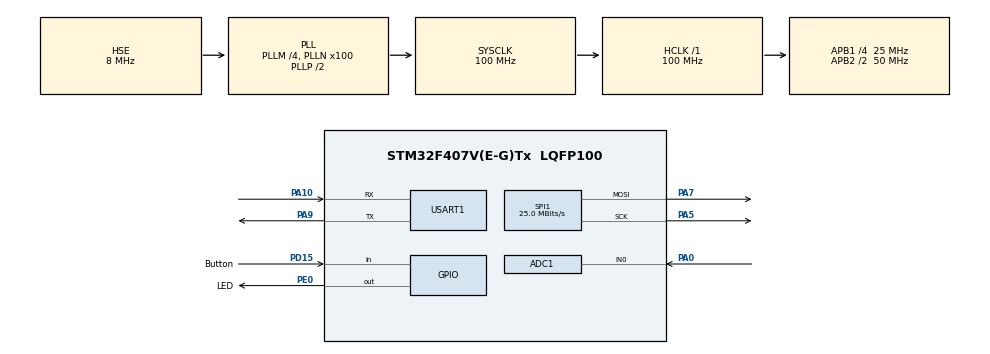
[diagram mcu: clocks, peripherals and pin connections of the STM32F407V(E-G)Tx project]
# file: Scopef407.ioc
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ADC1.Channel-0\#ChannelRegularConversion=ADC_CHANNEL_0
ADC1.DMAContinuousRequests=ENABLE
ADC1.ExternalTrigConv=ADC_EXTERNALTRIGCONV_T3_TRGO
ADC1.InjNumberOfConversion=0
ADC1.NbrOfConversionFlag=1
ADC1.Rank-0\#ChannelRegularConversion=1
ADC1.SamplingTime-0\#ChannelRegularConversion=ADC_SAMPLETIME_3CYCLES
ADC1.master=1
Dma.ADC1.0.Direction=DMA_PERIPH_TO_MEMORY
Dma.ADC1.0.FIFOMode=DMA_FIFOMODE_DISABLE
Dma.ADC1.0.Instance=DMA2_Stream0
Dma.ADC1.0.MemDataAlignment=DMA_MDATAALIGN_HALFWORD
Dma.ADC1.0.MemInc=DMA_MINC_ENABLE
Dma.ADC1.0.Mode=DMA_CIRCULAR
Dma.ADC1.0.PeriphDataAlignment=DMA_PDATAALIGN_HALFWORD
Dma.ADC1.0.PeriphInc=DMA_PINC_DISABLE
Dma.ADC1.0.Priority=DMA_PRIORITY_LOW
Dma.Request0=ADC1
Mcu.Family=STM32F4
Mcu.Name=STM32F407V(E-G)Tx
Mcu.Package=LQFP100
NVIC.DMA2_Stream0_IRQn=true\:0\:0\:false\:false\:true\:false\:true\:true
NVIC.PriorityGroup=NVIC_PRIORITYGROUP_4
PA0-WKUP.Signal=ADCx_IN0
PA10.Mode=Asynchronous
PA10.Signal=USART1_RX
PA13.Mode=Serial_Wire
PA13.Signal=SYS_JTMS-SWDIO
PA14.Mode=Serial_Wire
PA14.Signal=SYS_JTCK-SWCLK
PA5.Mode=TX_Only_Simplex_Unidirect_Master
PA5.Signal=SPI1_SCK
PA7.Mode=TX_Only_Simplex_Unidirect_Master
PA7.Signal=SPI1_MOSI
PA9.Mode=Asynchronous
PA9.Signal=USART1_TX
PD15.GPIO_Label=Button
PD15.Signal=GPIO_Input
PE0.GPIO_Label=LED
PE0.Signal=GPIO_Output
PH0-OSC_IN.Mode=HSE-External-Oscillator
PH0-OSC_IN.Signal=RCC_OSC_IN
PH1-OSC_OUT.Mode=HSE-External-Oscillator
PH1-OSC_OUT.Signal=RCC_OSC_OUT
ProjectManager.HeapSize=0x200
ProjectManager.StackSize=0x400
ProjectManager.TargetToolchain=CMake
RCC.48MHZClocksFreq_Value=50000000
RCC.AHBFreq_Value=100000000
RCC.APB1CLKDivider=RCC_HCLK_DIV4
RCC.APB1Freq_Value=25000000
RCC.APB1TimFreq_Value=50000000
RCC.APB2CLKDivider=RCC_HCLK_DIV2
RCC.APB2Freq_Value=50000000
RCC.APB2TimFreq_Value=100000000
RCC.CortexFreq_Value=100000000
RCC.HCLKFreq_Value=100000000
RCC.HSE_VALUE=8000000
RCC.HSI_VALUE=16000000
RCC.LSE_VALUE=32768
RCC.PLLM=4
RCC.PLLN=100
RCC.PLLSourceVirtual=RCC_PLLSOURCE_HSE
RCC.SYSCLKFreq_VALUE=100000000
RCC.SYSCLKSource=RCC_SYSCLKSOURCE_PLLCLK
RCC.VCOOutputFreq_Value=200000000
SH.ADCx_IN0.0=ADC1_IN0,IN0
SPI1.CalculateBaudRate=25.0 MBits/s
SPI1.Direction=SPI_DIRECTION_2LINES
SPI1.Mode=SPI_MODE_MASTER
SPI1.VirtualType=VM_MASTER
TIM3.TIM_MasterOutputTrigger=TIM_TRGO_UPDATE
USART1.VirtualMode=VM_ASYNC
VP_TIM3_VS_ClockSourceINT.Mode=Internal
board=custom

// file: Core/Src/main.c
/* USER CODE BEGIN Header */
/* USER CODE END Header */
#include "main.h"
#include "adc.h"
#include "dma.h"
#include "spi.h"
#include "tim.h"
#include "usart.h"
#include "gpio.h"

/* USER CODE BEGIN Includes */
#include "scope.h"
#include "sandbox.h"
/* USER CODE END Includes */

void SystemClock_Config(void);

int main(void)
{

  /* MCU Configuration--------------------------------------------------------*/

  /* Reset of all peripherals, Initializes the Flash interface and the Systick. */
  HAL_Init();

  /* Configure the system clock */
  SystemClock_Config();

  /* Initialize all configured peripherals */
  MX_GPIO_Init();
  MX_DMA_Init();
  MX_ADC1_Init();
  MX_SPI1_Init();
  MX_TIM3_Init();
  MX_USART1_UART_Init();
  /* USER CODE BEGIN 2 */
  // Configure ST7735 Display Control Pins (PA2, PA3, PA4) as Output
  GPIO_InitTypeDef GPIO_InitStruct = {0};
  GPIO_InitStruct.Pin = ST7735_RES_Pin | ST7735_DC_Pin | ST7735_CS_Pin;
  GPIO_InitStruct.Mode = GPIO_MODE_OUTPUT_PP;
  GPIO_InitStruct.Pull = GPIO_NOPULL;
  GPIO_InitStruct.Speed = GPIO_SPEED_FREQ_HIGH;
  HAL_GPIO_Init(GPIOA, &GPIO_InitStruct);

  // Set CS and RES high by default
  HAL_GPIO_WritePin(GPIOA, ST7735_CS_Pin | ST7735_RES_Pin, GPIO_PIN_SET);

  // Configure Buttons (PB7, PB8, PB9) as Input with Pull-Up
  __HAL_RCC_GPIOB_CLK_ENABLE();
  GPIO_InitStruct.Pin = BTN1_Pin | BTN2_Pin | BTN3_Pin;
  GPIO_InitStruct.Mode = GPIO_MODE_INPUT;
  GPIO_InitStruct.Pull = GPIO_PULLUP;
  HAL_GPIO_Init(GPIOB, &GPIO_InitStruct);

  // Initialize the oscilloscope (starts the screen, ADC, timers, etc)
  scopeInit();

  // Initialize our custom sandbox!
  // sandboxInit(); // <--- Sandbox is currently disabled!
  /* USER CODE END 2 */

  /* Infinite loop */
  /* USER CODE BEGIN WHILE */
  while (1)
  {
    // Run the main oscilloscope update loop continuously
    scopeLoop();

    // Run our custom animation loop!
    // sandboxLoop(); // <--- Sandbox is currently disabled!
    /* USER CODE END WHILE */

  }
}

void SystemClock_Config(void)
{
  RCC_OscInitTypeDef RCC_OscInitStruct = {0};
  RCC_ClkInitTypeDef RCC_ClkInitStruct = {0};

  /** Configure the main internal regulator output voltage
  */
  __HAL_RCC_PWR_CLK_ENABLE();
  __HAL_PWR_VOLTAGESCALING_CONFIG(PWR_REGULATOR_VOLTAGE_SCALE1);

  /** Initializes the RCC Oscillators according to the specified parameters
  * in the RCC_OscInitTypeDef structure.
  */
  RCC_OscInitStruct.OscillatorType = RCC_OSCILLATORTYPE_HSE;
  RCC_OscInitStruct.HSEState = RCC_HSE_ON;
  RCC_OscInitStruct.PLL.PLLState = RCC_PLL_ON;
  RCC_OscInitStruct.PLL.PLLSource = RCC_PLLSOURCE_HSE;
  RCC_OscInitStruct.PLL.PLLM = 4;
  RCC_OscInitStruct.PLL.PLLN = 100;
  RCC_OscInitStruct.PLL.PLLP = RCC_PLLP_DIV2;
  RCC_OscInitStruct.PLL.PLLQ = 4;
  if (HAL_RCC_OscConfig(&RCC_OscInitStruct) != HAL_OK)
  {
    Error_Handler();
  }

  /** Initializes the CPU, AHB and APB buses clocks
  */
  RCC_ClkInitStruct.ClockType = RCC_CLOCKTYPE_HCLK|RCC_CLOCKTYPE_SYSCLK
                              |RCC_CLOCKTYPE_PCLK1|RCC_CLOCKTYPE_PCLK2;
  RCC_ClkInitStruct.SYSCLKSource = RCC_SYSCLKSOURCE_PLLCLK;
  RCC_ClkInitStruct.AHBCLKDivider = RCC_SYSCLK_DIV1;
  RCC_ClkInitStruct.APB1CLKDivider = RCC_HCLK_DIV4;
  RCC_ClkInitStruct.APB2CLKDivider = RCC_HCLK_DIV2;

  if (HAL_RCC_ClockConfig(&RCC_ClkInitStruct, FLASH_LATENCY_3) != HAL_OK)
  {
    Error_Handler();
  }
}

void Error_Handler(void)
{
  __disable_irq();
  while (1)
  {
  }
}
